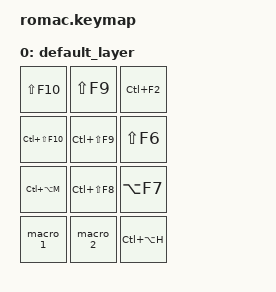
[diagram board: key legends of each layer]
/*
 * Copyright (c) 2020 The ZMK Contributors
 *
 * SPDX-License-Identifier: MIT
 */

#include <behaviors.dtsi>
#include <dt-bindings/zmk/keys.h>
#include <dt-bindings/zmk/bt.h>

/ {
	behaviors {
		macro_1: macro_1 {
			compatible = "zmk,behavior-macro";
			label = "MACRO_1";
			#binding-cells = <0>;
			bindings = <&kp LA(F1)>, <&kp 1>;
		};
        
        macro_2: macro_2 {
			compatible = "zmk,behavior-macro";
			label = "MACRO_2";
			#binding-cells = <0>;
			bindings = <&kp LA(F1)>, <&kp 4>;
		};
	};
    
    keymap {
        compatible = "zmk,keymap";

        default_layer {
// -------------------
// | 7      |  8  |  9  |
// | 4      |  5  |  6  |
// | 1      |  2  |  3  |
// | MO(1)  |  0  |  .  |
// ----------------------
            bindings = <
    &kp LS(F10)       &kp LS(F9)       &kp LC(F2)
    &kp LC(LS(F10))   &kp LC(LS(F9))   &kp LS(F6)
    &kp LC(LA(M))     &kp LC(LS(F8))   &kp LA(F7)
    &macro_1          &macro_2         &kp LC(LA(H))
            >;
        };
    };
};

